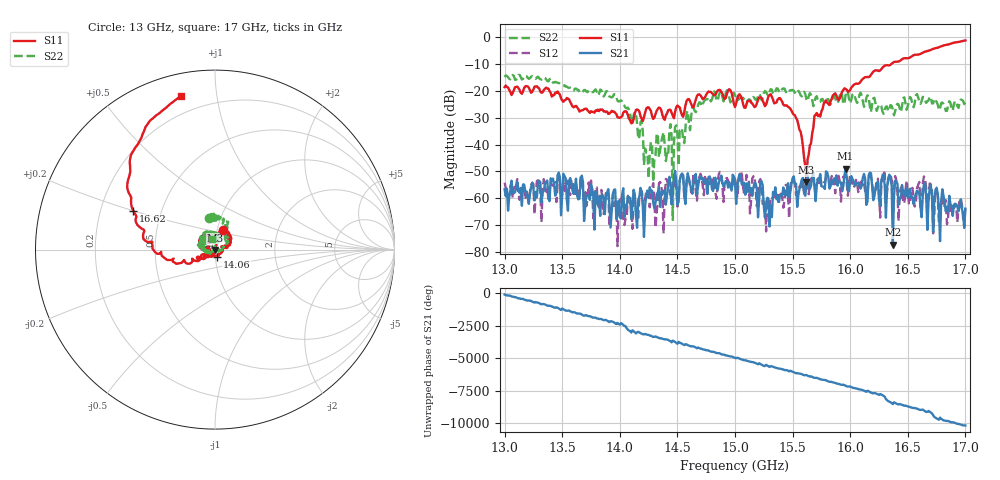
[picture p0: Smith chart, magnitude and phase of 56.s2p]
!Keysight Technologies,P9374A,MY57211807,A.19.30.04
!Date: Friday, May 01, 2026 14:16:00
!Correction: S11(C  2-Port  )
!S21(C  2-Port  )
!S12(C  2-Port  )
!S22(C  2-Port  )
!S2P File: Measurements: S11, S21, S12, S22:
# Hz S  RI  R 50
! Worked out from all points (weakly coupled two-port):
!   401 points, 13 GHz to 17 GHz, reference 50 ohm
!   highest |S21| = -48.99 dB at 15.96 GHz (marker M1); lowest = -77.3 dB at 16.37 GHz (marker M2)
!   lowest |S11| = -54.0 dB at 15.62 GHz (marker M3), VSWR 1.00, Z = 50.1 - j0.188 ohm
!   |S11| at or under -10 dB: start of sweep to 16.36 GHz
!   |S22| runs from -68.1 to -14.0 dB; largest |S21 - S12| = 0.002
!   S11 on the Smith chart (normalised r, x): 13 GHz: 1.06, +0.24; 14.06 GHz: 1.02, -0.08; 16.62 GHz: 0.34, +0.20; 17 GHz: 0.11, +0.80
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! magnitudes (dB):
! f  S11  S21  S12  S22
! 13 GHz  -18.5  -56.7  -54.2  -14.8
! 13.67 GHz  -27.2  -51.6  -54.6  -20.4
! 14.06 GHz  -27.8  -63.4  -67.5  -26.5
! 14.18 GHz  -29.4  -56.1  -57.4  -31.6
! 14.23 GHz  -26.5  -58.9  -57.5  -43.0
! 14.34 GHz  -26.2  -55.9  -54.4  -44.7
! 14.43 GHz  -27.0  -52.0  -57.2  -34.7
! 14.44 GHz  -27.0  -54.8  -58.7  -32.4
! 14.69 GHz  -21.2  -52.9  -52.4  -24.2
! 15 GHz  -26.0  -53.9  -52.8  -21.5
! 15.22 GHz  -22.4  -54.0  -52.8  -21.8
! 15.26 GHz  -25.7  -67.2  -60.7  -20.0
! 15.39 GHz  -22.6  -58.6  -57.6  -20.6
! 15.53 GHz  -30.1  -54.6  -58.9  -21.2
! 15.62 GHz  -54.0  -55.2  -54.2  -23.0
! 15.67 GHz  -35.8  -52.0  -52.2  -23.2
! 15.78 GHz  -24.2  -56.5  -54.2  -24.3
! 15.96 GHz  -19.2  -49.0  -51.4  -21.6
! 16.34 GHz  -10.4  -51.2  -51.1  -27.1
! 16.37 GHz  -9.5  -77.3  -65.9  -26.8
! 16.62 GHz  -5.9  -67.1  -64.5  -23.8
! 17 GHz  -1.2  -63.9  -62.1  -24.4
